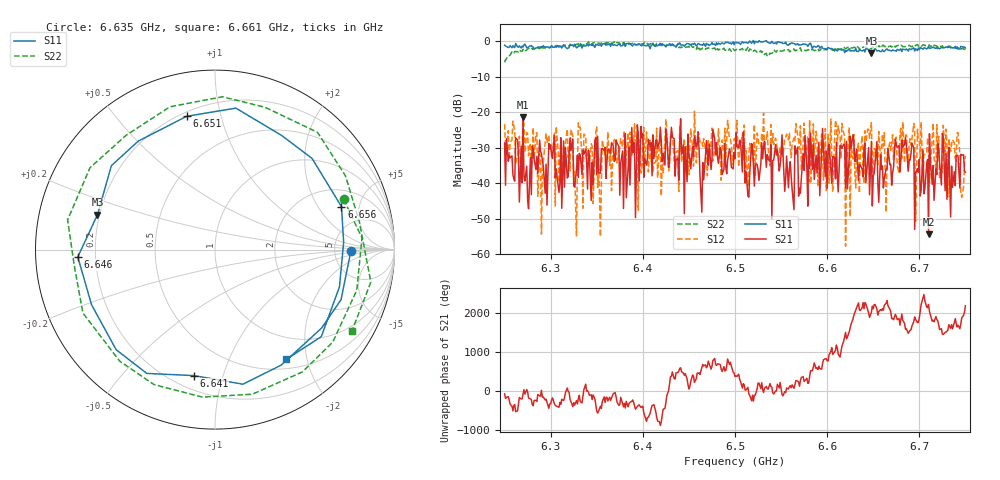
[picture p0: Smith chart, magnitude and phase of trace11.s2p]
# Hz S RI R 50
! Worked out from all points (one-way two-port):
!   401 points, 6.25 GHz to 6.75 GHz, reference 50 ohm
!   highest |S21| = -21.30 dB at 6.27 GHz (marker M1); lowest = -54.4 dB at 6.71 GHz (marker M2)
!   lowest |S11| = -3.3 dB at 6.648 GHz (marker M3), VSWR 5.31, Z = 9.61 + j7.01 ohm
!   |S11| at or under -10 dB: nowhere
!   |S22| runs from -5.9 to -0.1 dB; largest |S21 - S12| = 0.15
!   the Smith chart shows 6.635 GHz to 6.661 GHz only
!   S11 on the Smith chart (normalised r, x): 6.635 GHz: 7.21, -0.34; 6.641 GHz: 0.28, -0.81; 6.646 GHz: 0.13, -0.03; 6.651 GHz: 0.22, +0.79; 6.656 GHz: 3.09, +3.31; 6.661 GHz: 0.63, -1.66
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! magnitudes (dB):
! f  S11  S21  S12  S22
! 6.25 GHz  -1.1  -28.7  -23.3  -5.9
! 6.27 GHz  -1.5  -21.3  -21.9  -2.2
! 6.289 GHz  -1.6  -31.1  -32.2  -1.8
! 6.296 GHz  -1.5  -46.1  -28.7  -1.6
! 6.334 GHz  -1.9  -37.6  -32.6  -1.1
! 6.354 GHz  -0.9  -37.1  -55.0  -0.7
! 6.418 GHz  -0.8  -28.1  -28.2  -1.1
! 6.459 GHz  -0.9  -28.9  -29.6  -1.5
! 6.465 GHz  -1.1  -34.1  -29.6  -1.8
! 6.5 GHz  -0.3  -33.1  -27.3  -2.6
! 6.514 GHz  -0.5  -43.6  -41.0  -1.7
! 6.584 GHz  -2.0  -36.1  -32.2  -2.2
! 6.635 GHz  -2.4  -34.7  -42.8  -2.3
! 6.641 GHz  -3.0  -28.6  -25.2  -1.6
! 6.646 GHz  -2.3  -43.2  -27.3  -1.8
! 6.648 GHz  -3.3  -28.2  -22.9  -2.1
! 6.651 GHz  -2.4  -37.3  -30.2  -1.9
! 6.656 GHz  -2.6  -45.3  -25.4  -1.2
! 6.661 GHz  -2.7  -41.3  -29.6  -1.0
! 6.668 GHz  -2.5  -34.8  -28.5  -1.3
! 6.71 GHz  -1.5  -54.4  -30.5  -1.2
! 6.75 GHz  -1.8  -36.9  -32.3  -2.2
